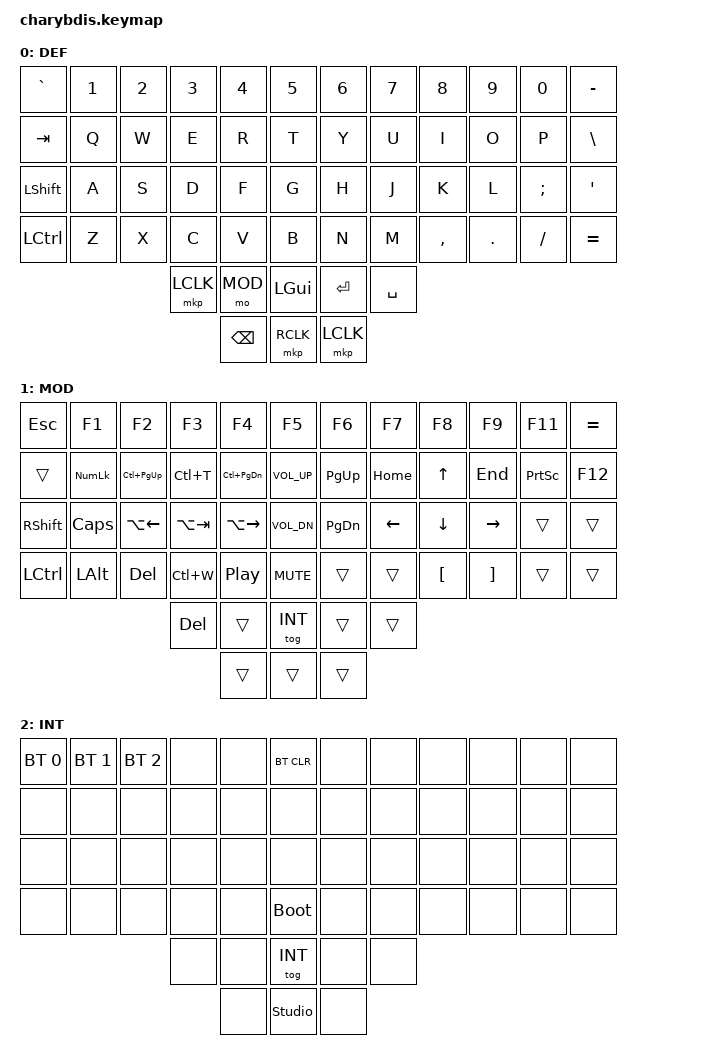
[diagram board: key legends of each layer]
#include <behaviors.dtsi>
#include <dt-bindings/zmk/bt.h>
#include <dt-bindings/zmk/keys.h>
#include <dt-bindings/zmk/mouse.h>
#include <dt-bindings/zmk/outputs.h>
#include <behaviors/mouse_keys.dtsi>
#include <dt-bindings/zmk/ext_power.h>
#include "macros.dtsi"

// / {
//     chosen { zmk,matrix_transform = &default_transform; };
// };

/ {
    /* input config for mouse move mode */
    trackball_listener {
        compatible = "zmk,input-behavior-listener";
        device = <&vtrackball>;
        layers = <0 2>;
        evt-type = <INPUT_EV_REL>;
        x-input-code = <INPUT_REL_X>;
        y-input-code = <INPUT_REL_Y>;
        scale-multiplier = <1>;
        scale-divisor = <2>;
        // bindings = <&ib_toggle_layer 7>;
    };

    /* input config for snipe mode */
    trackball_snipe_listener {
        compatible = "zmk,input-behavior-listener";   
        device = <&vtrackball>;
        layers = <3>;
        evt-type = <INPUT_EV_REL>;
        x-input-code = <INPUT_REL_X>;
        y-input-code = <INPUT_REL_Y>;
        scale-multiplier = <1>;
        scale-divisor = <4>;
    };

    /* input config for mouse scroll mode */
    trackball_scroll_listener {
        compatible = "zmk,input-behavior-listener";
        device = <&vtrackball>;
        layers = <1>;
        evt-type = <INPUT_EV_REL>;            
        x-input-code = <INPUT_REL_MISC>;
        y-input-code = <INPUT_REL_WHEEL>;
        y-invert;
        bindings = <&ib_wheel_scaler 1 14>;
    };

    /* define a resolution down scaler only for INPUT_REL_WHEEL */
    ib_wheel_scaler: ib_wheel_scaler {
        compatible = "zmk,input-behavior-scaler";
        #binding-cells = <2>;
        evt-type = <INPUT_EV_REL>;
        input-code = <INPUT_REL_WHEEL>;
    };

    /* adjust cooldown waiting period for mouse key layer after activated */
    ib_toggle_layer: ib_toggle_layer {
        compatible = "zmk,input-behavior-tog-layer";
        #binding-cells = <1>;
        time-to-live-ms = <750>;
    };

#define DEF 0
#define MOD 1
#define INT 2

    keymap {
        compatible = "zmk,keymap";
DEF {
bindings = <
&kp GRAVE      &kp N1 &kp N2 &kp N3   &kp N4    &kp N5         &kp N6        &kp N7         &kp N8    &kp N9  &kp N0    &kp MINUS
&kp TAB        &kp Q  &kp W  &kp E    &kp R     &kp T          &kp Y         &kp U          &kp I     &kp O   &kp P     &kp BACKSLASH
&kp LSHIFT     &kp A  &kp S  &kp D    &kp F     &kp G          &kp H         &kp J          &kp K     &kp L   &kp SEMI  &kp APOS
&kp LCTRL      &kp Z  &kp X  &kp C    &kp V     &kp B          &kp N         &kp M          &kp COMMA &kp DOT &kp SLASH &kp EQUAL
                             &mkp LCLK &mo MOD   &kp LGUI       &kp ENTER     &kp SPACE
                                      &kp BSPC &mkp RCLK      &mkp LCLK    
>;
};
MOD {
bindings = <
&kp ESC        &kp F1       &kp F2           &kp F3        &kp F4          &kp F5            &kp F6     &kp F7      &kp F8      &kp F9      &kp F11     &kp EQUAL
&trans         &kp KP_NLCK  &kp LC(PG_UP)    &kp LC(T)     &kp LC(PG_DN)   &kp K_VOL_UP      &kp PG_UP  &kp HOME    &kp UP      &kp END     &kp PSCRN   &kp F12
&kp RSHIFT     &kp CAPS     &kp LA(LEFT)     &kp LA(TAB)   &kp LA(RIGHT)   &kp K_VOL_DN      &kp PG_DN  &kp LEFT    &kp DOWN    &kp RIGHT   &trans      &trans
&kp LCTRL      &kp LALT     &kp DEL           &kp LC(W)     &kp C_PP        &kp K_MUTE        &trans     &trans      &kp LBKT    &kp RBKT    &trans      &trans
                                             &kp DEL       &trans          &tog INT          &trans     &trans
                                                           &trans          &trans            &trans
>;
};
INT {
bindings = <
&bt BT_SEL 0 &bt BT_SEL 1 &bt BT_SEL 2 &none        &none        &bt BT_CLR        &none        &none   &none        &none &none      &none 
&none        &none        &none        &none        &none        &none             &none        &none   &none        &none &none      &none
&none        &none        &none        &none        &none        &none             &none        &none   &none        &none &none      &none
&none        &none        &none        &none        &none        &bootloader       &none        &none   &none        &none &none      &none
                                       &none        &none        &tog INT          &none        &none
                                                    &none        &studio_unlock             &none
>;
};
};
};


